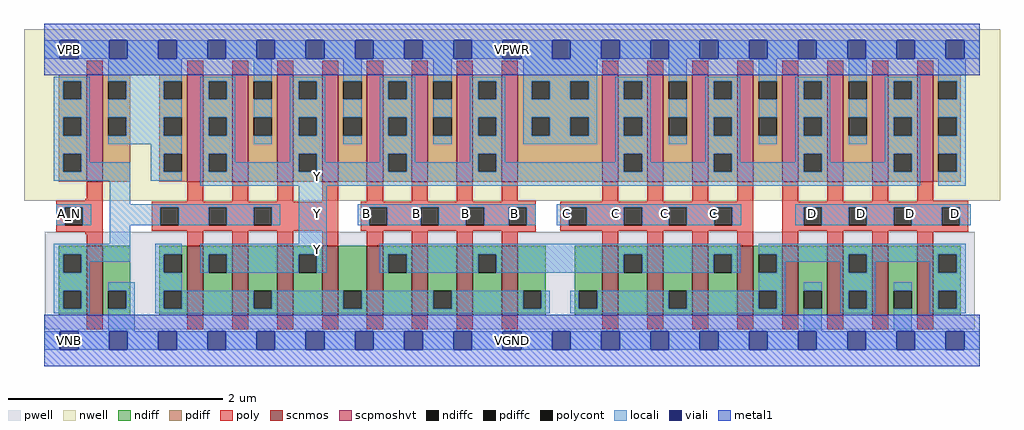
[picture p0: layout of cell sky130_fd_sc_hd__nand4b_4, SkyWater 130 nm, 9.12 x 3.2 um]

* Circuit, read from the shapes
.subckt sky130_fd_sc_hd__nand4b_4 A_N B C D VGND VNB VPB VPWR Y
XM1 VGND A_N n1 VNB sky130_fd_pr__nfet_01v8 w=0.65 l=0.15
XM2 Y n1 n2 VNB sky130_fd_pr__nfet_01v8 w=0.65 l=0.15 m=4
XM3 n3 B n2 VNB sky130_fd_pr__nfet_01v8 w=0.65 l=0.15 m=4
XM4 n3 C n4 VNB sky130_fd_pr__nfet_01v8 w=0.65 l=0.15 m=4
XM5 VGND D n4 VNB sky130_fd_pr__nfet_01v8 w=0.65 l=0.15 m=4
XM6 VPWR A_N n1 VPB sky130_fd_pr__pfet_01v8_hvt w=1 l=0.15
XM7 Y n1 VPWR VPB sky130_fd_pr__pfet_01v8_hvt w=1 l=0.15 m=4
XM8 Y B VPWR VPB sky130_fd_pr__pfet_01v8_hvt w=1 l=0.15 m=4
XM9 Y C VPWR VPB sky130_fd_pr__pfet_01v8_hvt w=1 l=0.15 m=4
XM10 Y D VPWR VPB sky130_fd_pr__pfet_01v8_hvt w=1 l=0.15 m=4
.ends

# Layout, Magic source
magic
tech sky130B
magscale 1 2
<< nwell >>
rect -38 261 1786 582
<< pwell >>
rect 1 21 1739 203
rect 30 -17 64 21
<< scnmos >>
rect 79 47 109 177
rect 267 47 297 177
rect 351 47 381 177
rect 435 47 465 177
rect 519 47 549 177
rect 603 47 633 177
rect 687 47 717 177
rect 771 47 801 177
rect 855 47 885 177
rect 1043 47 1073 177
rect 1127 47 1157 177
rect 1211 47 1241 177
rect 1295 47 1325 177
rect 1379 47 1409 177
rect 1463 47 1493 177
rect 1547 47 1577 177
rect 1631 47 1661 177
<< scpmoshvt >>
rect 79 297 109 497
rect 267 297 297 497
rect 351 297 381 497
rect 435 297 465 497
rect 519 297 549 497
rect 603 297 633 497
rect 687 297 717 497
rect 771 297 801 497
rect 855 297 885 497
rect 1043 297 1073 497
rect 1127 297 1157 497
rect 1211 297 1241 497
rect 1295 297 1325 497
rect 1379 297 1409 497
rect 1463 297 1493 497
rect 1547 297 1577 497
rect 1631 297 1661 497
<< ndiff >>
rect 27 161 79 177
rect 27 127 35 161
rect 69 127 79 161
rect 27 93 79 127
rect 27 59 35 93
rect 69 59 79 93
rect 27 47 79 59
rect 109 93 161 177
rect 109 59 119 93
rect 153 59 161 93
rect 109 47 161 59
rect 215 161 267 177
rect 215 127 223 161
rect 257 127 267 161
rect 215 93 267 127
rect 215 59 223 93
rect 257 59 267 93
rect 215 47 267 59
rect 297 161 351 177
rect 297 127 307 161
rect 341 127 351 161
rect 297 47 351 127
rect 381 93 435 177
rect 381 59 391 93
rect 425 59 435 93
rect 381 47 435 59
rect 465 161 519 177
rect 465 127 475 161
rect 509 127 519 161
rect 465 47 519 127
rect 549 93 603 177
rect 549 59 559 93
rect 593 59 603 93
rect 549 47 603 59
rect 633 161 687 177
rect 633 127 643 161
rect 677 127 687 161
rect 633 47 687 127
rect 717 93 771 177
rect 717 59 727 93
rect 761 59 771 93
rect 717 47 771 59
rect 801 161 855 177
rect 801 127 811 161
rect 845 127 855 161
rect 801 47 855 127
rect 885 93 937 177
rect 885 59 895 93
rect 929 59 937 93
rect 885 47 937 59
rect 991 93 1043 177
rect 991 59 999 93
rect 1033 59 1043 93
rect 991 47 1043 59
rect 1073 161 1127 177
rect 1073 127 1083 161
rect 1117 127 1127 161
rect 1073 47 1127 127
rect 1157 93 1211 177
rect 1157 59 1167 93
rect 1201 59 1211 93
rect 1157 47 1211 59
rect 1241 161 1295 177
rect 1241 127 1251 161
rect 1285 127 1295 161
rect 1241 47 1295 127
rect 1325 161 1379 177
rect 1325 127 1335 161
rect 1369 127 1379 161
rect 1325 93 1379 127
rect 1325 59 1335 93
rect 1369 59 1379 93
rect 1325 47 1379 59
rect 1409 93 1463 177
rect 1409 59 1419 93
rect 1453 59 1463 93
rect 1409 47 1463 59
rect 1493 161 1547 177
rect 1493 127 1503 161
rect 1537 127 1547 161
rect 1493 93 1547 127
rect 1493 59 1503 93
rect 1537 59 1547 93
rect 1493 47 1547 59
rect 1577 93 1631 177
rect 1577 59 1587 93
rect 1621 59 1631 93
rect 1577 47 1631 59
rect 1661 161 1713 177
rect 1661 127 1671 161
rect 1705 127 1713 161
rect 1661 93 1713 127
rect 1661 59 1671 93
rect 1705 59 1713 93
rect 1661 47 1713 59
<< pdiff >>
rect 27 485 79 497
rect 27 451 35 485
rect 69 451 79 485
rect 27 417 79 451
rect 27 383 35 417
rect 69 383 79 417
rect 27 349 79 383
rect 27 315 35 349
rect 69 315 79 349
rect 27 297 79 315
rect 109 485 161 497
rect 109 451 119 485
rect 153 451 161 485
rect 109 417 161 451
rect 109 383 119 417
rect 153 383 161 417
rect 109 297 161 383
rect 215 485 267 497
rect 215 451 223 485
rect 257 451 267 485
rect 215 417 267 451
rect 215 383 223 417
rect 257 383 267 417
rect 215 349 267 383
rect 215 315 223 349
rect 257 315 267 349
rect 215 297 267 315
rect 297 485 351 497
rect 297 451 307 485
rect 341 451 351 485
rect 297 417 351 451
rect 297 383 307 417
rect 341 383 351 417
rect 297 349 351 383
rect 297 315 307 349
rect 341 315 351 349
rect 297 297 351 315
rect 381 485 435 497
rect 381 451 391 485
rect 425 451 435 485
rect 381 417 435 451
rect 381 383 391 417
rect 425 383 435 417
rect 381 297 435 383
rect 465 485 519 497
rect 465 451 475 485
rect 509 451 519 485
rect 465 417 519 451
rect 465 383 475 417
rect 509 383 519 417
rect 465 349 519 383
rect 465 315 475 349
rect 509 315 519 349
rect 465 297 519 315
rect 549 485 603 497
rect 549 451 559 485
rect 593 451 603 485
rect 549 417 603 451
rect 549 383 559 417
rect 593 383 603 417
rect 549 297 603 383
rect 633 485 687 497
rect 633 451 643 485
rect 677 451 687 485
rect 633 417 687 451
rect 633 383 643 417
rect 677 383 687 417
rect 633 349 687 383
rect 633 315 643 349
rect 677 315 687 349
rect 633 297 687 315
rect 717 485 771 497
rect 717 451 727 485
rect 761 451 771 485
rect 717 417 771 451
rect 717 383 727 417
rect 761 383 771 417
rect 717 297 771 383
rect 801 485 855 497
rect 801 451 811 485
rect 845 451 855 485
rect 801 417 855 451
rect 801 383 811 417
rect 845 383 855 417
rect 801 349 855 383
rect 801 315 811 349
rect 845 315 855 349
rect 801 297 855 315
rect 885 485 1043 497
rect 885 451 911 485
rect 945 451 983 485
rect 1017 451 1043 485
rect 885 417 1043 451
rect 885 383 911 417
rect 945 383 983 417
rect 1017 383 1043 417
rect 885 297 1043 383
rect 1073 485 1127 497
rect 1073 451 1083 485
rect 1117 451 1127 485
rect 1073 417 1127 451
rect 1073 383 1083 417
rect 1117 383 1127 417
rect 1073 349 1127 383
rect 1073 315 1083 349
rect 1117 315 1127 349
rect 1073 297 1127 315
rect 1157 485 1211 497
rect 1157 451 1167 485
rect 1201 451 1211 485
rect 1157 417 1211 451
rect 1157 383 1167 417
rect 1201 383 1211 417
rect 1157 297 1211 383
rect 1241 485 1295 497
rect 1241 451 1251 485
rect 1285 451 1295 485
rect 1241 417 1295 451
rect 1241 383 1251 417
rect 1285 383 1295 417
rect 1241 349 1295 383
rect 1241 315 1251 349
rect 1285 315 1295 349
rect 1241 297 1295 315
rect 1325 485 1379 497
rect 1325 451 1335 485
rect 1369 451 1379 485
rect 1325 417 1379 451
rect 1325 383 1335 417
rect 1369 383 1379 417
rect 1325 297 1379 383
rect 1409 485 1463 497
rect 1409 451 1419 485
rect 1453 451 1463 485
rect 1409 417 1463 451
rect 1409 383 1419 417
rect 1453 383 1463 417
rect 1409 349 1463 383
rect 1409 315 1419 349
rect 1453 315 1463 349
rect 1409 297 1463 315
rect 1493 485 1547 497
rect 1493 451 1503 485
rect 1537 451 1547 485
rect 1493 417 1547 451
rect 1493 383 1503 417
rect 1537 383 1547 417
rect 1493 297 1547 383
rect 1577 485 1631 497
rect 1577 451 1587 485
rect 1621 451 1631 485
rect 1577 417 1631 451
rect 1577 383 1587 417
rect 1621 383 1631 417
rect 1577 349 1631 383
rect 1577 315 1587 349
rect 1621 315 1631 349
rect 1577 297 1631 315
rect 1661 485 1713 497
rect 1661 451 1671 485
rect 1705 451 1713 485
rect 1661 417 1713 451
rect 1661 383 1671 417
rect 1705 383 1713 417
rect 1661 349 1713 383
rect 1661 315 1671 349
rect 1705 315 1713 349
rect 1661 297 1713 315
<< ndiffc >>
rect 35 127 69 161
rect 35 59 69 93
rect 119 59 153 93
rect 223 127 257 161
rect 223 59 257 93
rect 307 127 341 161
rect 391 59 425 93
rect 475 127 509 161
rect 559 59 593 93
rect 643 127 677 161
rect 727 59 761 93
rect 811 127 845 161
rect 895 59 929 93
rect 999 59 1033 93
rect 1083 127 1117 161
rect 1167 59 1201 93
rect 1251 127 1285 161
rect 1335 127 1369 161
rect 1335 59 1369 93
rect 1419 59 1453 93
rect 1503 127 1537 161
rect 1503 59 1537 93
rect 1587 59 1621 93
rect 1671 127 1705 161
rect 1671 59 1705 93
<< pdiffc >>
rect 35 451 69 485
rect 35 383 69 417
rect 35 315 69 349
rect 119 451 153 485
rect 119 383 153 417
rect 223 451 257 485
rect 223 383 257 417
rect 223 315 257 349
rect 307 451 341 485
rect 307 383 341 417
rect 307 315 341 349
rect 391 451 425 485
rect 391 383 425 417
rect 475 451 509 485
rect 475 383 509 417
rect 475 315 509 349
rect 559 451 593 485
rect 559 383 593 417
rect 643 451 677 485
rect 643 383 677 417
rect 643 315 677 349
rect 727 451 761 485
rect 727 383 761 417
rect 811 451 845 485
rect 811 383 845 417
rect 811 315 845 349
rect 911 451 945 485
rect 983 451 1017 485
rect 911 383 945 417
rect 983 383 1017 417
rect 1083 451 1117 485
rect 1083 383 1117 417
rect 1083 315 1117 349
rect 1167 451 1201 485
rect 1167 383 1201 417
rect 1251 451 1285 485
rect 1251 383 1285 417
rect 1251 315 1285 349
rect 1335 451 1369 485
rect 1335 383 1369 417
rect 1419 451 1453 485
rect 1419 383 1453 417
rect 1419 315 1453 349
rect 1503 451 1537 485
rect 1503 383 1537 417
rect 1587 451 1621 485
rect 1587 383 1621 417
rect 1587 315 1621 349
rect 1671 451 1705 485
rect 1671 383 1705 417
rect 1671 315 1705 349
<< poly >>
rect 79 497 109 523
rect 267 497 297 523
rect 351 497 381 523
rect 435 497 465 523
rect 519 497 549 523
rect 603 497 633 523
rect 687 497 717 523
rect 771 497 801 523
rect 855 497 885 523
rect 1043 497 1073 523
rect 1127 497 1157 523
rect 1211 497 1241 523
rect 1295 497 1325 523
rect 1379 497 1409 523
rect 1463 497 1493 523
rect 1547 497 1577 523
rect 1631 497 1661 523
rect 79 265 109 297
rect 76 261 109 265
rect 22 249 109 261
rect 267 259 297 297
rect 351 259 381 297
rect 435 259 465 297
rect 519 259 549 297
rect 603 259 633 297
rect 687 259 717 297
rect 771 259 801 297
rect 855 261 885 297
rect 855 259 918 261
rect 1043 259 1073 297
rect 1127 259 1157 297
rect 1211 259 1241 297
rect 1295 259 1325 297
rect 22 215 38 249
rect 72 215 109 249
rect 22 203 109 215
rect 201 249 549 259
rect 201 215 217 249
rect 251 215 307 249
rect 341 215 391 249
rect 425 215 549 249
rect 201 205 549 215
rect 591 249 918 259
rect 591 215 607 249
rect 641 215 703 249
rect 737 215 788 249
rect 822 215 868 249
rect 902 215 918 249
rect 591 205 918 215
rect 964 249 1325 259
rect 964 215 980 249
rect 1014 215 1083 249
rect 1117 215 1167 249
rect 1201 215 1252 249
rect 1286 215 1325 249
rect 964 205 1325 215
rect 76 199 109 203
rect 79 177 109 199
rect 267 177 297 205
rect 351 177 381 205
rect 435 177 465 205
rect 519 177 549 205
rect 603 177 633 205
rect 687 177 717 205
rect 771 177 801 205
rect 855 203 918 205
rect 855 177 885 203
rect 1043 177 1073 205
rect 1127 177 1157 205
rect 1211 177 1241 205
rect 1295 177 1325 205
rect 1379 259 1409 297
rect 1463 259 1493 297
rect 1547 259 1577 297
rect 1631 261 1661 297
rect 1631 259 1727 261
rect 1379 249 1727 259
rect 1379 215 1419 249
rect 1453 215 1503 249
rect 1537 215 1587 249
rect 1621 215 1677 249
rect 1711 215 1727 249
rect 1379 205 1727 215
rect 1379 177 1409 205
rect 1463 177 1493 205
rect 1547 177 1577 205
rect 1631 203 1727 205
rect 1631 177 1661 203
rect 79 21 109 47
rect 267 21 297 47
rect 351 21 381 47
rect 435 21 465 47
rect 519 21 549 47
rect 603 21 633 47
rect 687 21 717 47
rect 771 21 801 47
rect 855 21 885 47
rect 1043 21 1073 47
rect 1127 21 1157 47
rect 1211 21 1241 47
rect 1295 21 1325 47
rect 1379 21 1409 47
rect 1463 21 1493 47
rect 1547 21 1577 47
rect 1631 21 1661 47
<< polycont >>
rect 38 215 72 249
rect 217 215 251 249
rect 307 215 341 249
rect 391 215 425 249
rect 607 215 641 249
rect 703 215 737 249
rect 788 215 822 249
rect 868 215 902 249
rect 980 215 1014 249
rect 1083 215 1117 249
rect 1167 215 1201 249
rect 1252 215 1286 249
rect 1419 215 1453 249
rect 1503 215 1537 249
rect 1587 215 1621 249
rect 1677 215 1711 249
<< locali >>
rect 0 527 29 561
rect 63 527 121 561
rect 155 527 213 561
rect 247 527 305 561
rect 339 527 397 561
rect 431 527 489 561
rect 523 527 581 561
rect 615 527 673 561
rect 707 527 765 561
rect 799 527 857 561
rect 891 527 949 561
rect 983 527 1041 561
rect 1075 527 1133 561
rect 1167 527 1225 561
rect 1259 527 1317 561
rect 1351 527 1409 561
rect 1443 527 1501 561
rect 1535 527 1593 561
rect 1627 527 1685 561
rect 1719 527 1748 561
rect 18 485 85 493
rect 18 451 35 485
rect 69 451 85 485
rect 18 417 85 451
rect 18 383 35 417
rect 69 383 85 417
rect 18 349 85 383
rect 119 485 257 527
rect 153 451 223 485
rect 119 417 257 451
rect 153 383 223 417
rect 119 367 257 383
rect 18 315 35 349
rect 69 333 85 349
rect 199 349 257 367
rect 69 315 161 333
rect 18 299 161 315
rect 199 315 223 349
rect 199 299 257 315
rect 291 485 357 493
rect 291 451 307 485
rect 341 451 357 485
rect 291 417 357 451
rect 291 383 307 417
rect 341 383 357 417
rect 291 349 357 383
rect 391 485 425 527
rect 391 417 425 451
rect 391 367 425 383
rect 459 485 525 493
rect 459 451 475 485
rect 509 451 525 485
rect 459 417 525 451
rect 459 383 475 417
rect 509 383 525 417
rect 291 315 307 349
rect 341 333 357 349
rect 459 349 525 383
rect 559 485 593 527
rect 559 417 593 451
rect 559 367 593 383
rect 627 485 693 493
rect 627 451 643 485
rect 677 451 693 485
rect 627 417 693 451
rect 627 383 643 417
rect 677 383 693 417
rect 459 333 475 349
rect 341 315 475 333
rect 509 333 525 349
rect 627 349 693 383
rect 727 485 761 527
rect 727 417 761 451
rect 727 367 761 383
rect 795 485 861 493
rect 795 451 811 485
rect 845 451 861 485
rect 795 417 861 451
rect 795 383 811 417
rect 845 383 861 417
rect 627 333 643 349
rect 509 315 643 333
rect 677 333 693 349
rect 795 349 861 383
rect 895 485 1033 527
rect 895 451 911 485
rect 945 451 983 485
rect 1017 451 1033 485
rect 895 417 1033 451
rect 895 383 911 417
rect 945 383 983 417
rect 1017 383 1033 417
rect 895 367 1033 383
rect 1067 485 1133 493
rect 1067 451 1083 485
rect 1117 451 1133 485
rect 1067 417 1133 451
rect 1067 383 1083 417
rect 1117 383 1133 417
rect 795 333 811 349
rect 677 315 811 333
rect 845 333 861 349
rect 1067 349 1133 383
rect 1167 485 1201 527
rect 1167 417 1201 451
rect 1167 367 1201 383
rect 1235 485 1301 493
rect 1235 451 1251 485
rect 1285 451 1301 485
rect 1235 417 1301 451
rect 1235 383 1251 417
rect 1285 383 1301 417
rect 1067 333 1083 349
rect 845 315 1083 333
rect 1117 333 1133 349
rect 1235 349 1301 383
rect 1335 485 1369 527
rect 1335 417 1369 451
rect 1335 367 1369 383
rect 1403 485 1469 493
rect 1403 451 1419 485
rect 1453 451 1469 485
rect 1403 417 1469 451
rect 1403 383 1419 417
rect 1453 383 1469 417
rect 1235 333 1251 349
rect 1117 315 1251 333
rect 1285 333 1301 349
rect 1403 349 1469 383
rect 1503 485 1537 527
rect 1503 417 1537 451
rect 1503 367 1537 383
rect 1571 485 1637 493
rect 1571 451 1587 485
rect 1621 451 1637 485
rect 1571 417 1637 451
rect 1571 383 1587 417
rect 1621 383 1637 417
rect 1403 333 1419 349
rect 1285 315 1419 333
rect 1453 333 1469 349
rect 1571 349 1637 383
rect 1571 333 1587 349
rect 1453 315 1587 333
rect 1621 315 1637 349
rect 122 255 161 299
rect 291 289 1637 315
rect 1671 485 1722 527
rect 1705 451 1722 485
rect 1671 417 1722 451
rect 1705 383 1722 417
rect 1671 349 1722 383
rect 1705 315 1722 349
rect 1671 289 1722 315
rect 22 249 88 255
rect 22 215 38 249
rect 72 215 88 249
rect 122 249 441 255
rect 122 215 217 249
rect 251 215 307 249
rect 341 215 391 249
rect 425 215 441 249
rect 122 181 161 215
rect 475 181 528 289
rect 586 249 918 255
rect 586 215 607 249
rect 641 215 703 249
rect 737 215 788 249
rect 822 215 868 249
rect 902 215 918 249
rect 958 249 1302 255
rect 958 215 980 249
rect 1014 215 1083 249
rect 1117 215 1167 249
rect 1201 215 1252 249
rect 1286 215 1302 249
rect 1403 249 1731 255
rect 1403 215 1419 249
rect 1453 215 1503 249
rect 1537 215 1587 249
rect 1621 215 1677 249
rect 1711 215 1731 249
rect 18 161 161 181
rect 18 127 35 161
rect 69 147 161 161
rect 207 161 257 181
rect 69 127 85 147
rect 18 93 85 127
rect 207 127 223 161
rect 291 161 528 181
rect 291 127 307 161
rect 341 127 475 161
rect 509 127 528 161
rect 627 161 1301 181
rect 627 127 643 161
rect 677 127 811 161
rect 845 127 1083 161
rect 1117 127 1251 161
rect 1285 127 1301 161
rect 1335 161 1722 181
rect 1369 147 1503 161
rect 1369 127 1385 147
rect 18 59 35 93
rect 69 59 85 93
rect 18 51 85 59
rect 119 93 169 109
rect 153 59 169 93
rect 119 17 169 59
rect 207 93 257 127
rect 1335 93 1385 127
rect 1487 127 1503 147
rect 1537 147 1671 161
rect 1537 127 1553 147
rect 207 59 223 93
rect 257 59 391 93
rect 425 59 559 93
rect 593 59 727 93
rect 761 59 895 93
rect 929 59 945 93
rect 207 51 945 59
rect 983 59 999 93
rect 1033 59 1167 93
rect 1201 59 1335 93
rect 1369 59 1385 93
rect 983 51 1385 59
rect 1419 93 1453 109
rect 1419 17 1453 59
rect 1487 93 1553 127
rect 1655 127 1671 147
rect 1705 127 1722 161
rect 1487 59 1503 93
rect 1537 59 1553 93
rect 1487 51 1553 59
rect 1587 93 1621 109
rect 1587 17 1621 59
rect 1655 93 1722 127
rect 1655 59 1671 93
rect 1705 59 1722 93
rect 1655 51 1722 59
rect 0 -17 29 17
rect 63 -17 121 17
rect 155 -17 213 17
rect 247 -17 305 17
rect 339 -17 397 17
rect 431 -17 489 17
rect 523 -17 581 17
rect 615 -17 673 17
rect 707 -17 765 17
rect 799 -17 857 17
rect 891 -17 949 17
rect 983 -17 1041 17
rect 1075 -17 1133 17
rect 1167 -17 1225 17
rect 1259 -17 1317 17
rect 1351 -17 1409 17
rect 1443 -17 1501 17
rect 1535 -17 1593 17
rect 1627 -17 1685 17
rect 1719 -17 1748 17
<< viali >>
rect 29 527 63 561
rect 121 527 155 561
rect 213 527 247 561
rect 305 527 339 561
rect 397 527 431 561
rect 489 527 523 561
rect 581 527 615 561
rect 673 527 707 561
rect 765 527 799 561
rect 857 527 891 561
rect 949 527 983 561
rect 1041 527 1075 561
rect 1133 527 1167 561
rect 1225 527 1259 561
rect 1317 527 1351 561
rect 1409 527 1443 561
rect 1501 527 1535 561
rect 1593 527 1627 561
rect 1685 527 1719 561
rect 29 -17 63 17
rect 121 -17 155 17
rect 213 -17 247 17
rect 305 -17 339 17
rect 397 -17 431 17
rect 489 -17 523 17
rect 581 -17 615 17
rect 673 -17 707 17
rect 765 -17 799 17
rect 857 -17 891 17
rect 949 -17 983 17
rect 1041 -17 1075 17
rect 1133 -17 1167 17
rect 1225 -17 1259 17
rect 1317 -17 1351 17
rect 1409 -17 1443 17
rect 1501 -17 1535 17
rect 1593 -17 1627 17
rect 1685 -17 1719 17
<< metal1 >>
rect 0 561 1748 592
rect 0 527 29 561
rect 63 527 121 561
rect 155 527 213 561
rect 247 527 305 561
rect 339 527 397 561
rect 431 527 489 561
rect 523 527 581 561
rect 615 527 673 561
rect 707 527 765 561
rect 799 527 857 561
rect 891 527 949 561
rect 983 527 1041 561
rect 1075 527 1133 561
rect 1167 527 1225 561
rect 1259 527 1317 561
rect 1351 527 1409 561
rect 1443 527 1501 561
rect 1535 527 1593 561
rect 1627 527 1685 561
rect 1719 527 1748 561
rect 0 496 1748 527
rect 0 17 1748 48
rect 0 -17 29 17
rect 63 -17 121 17
rect 155 -17 213 17
rect 247 -17 305 17
rect 339 -17 397 17
rect 431 -17 489 17
rect 523 -17 581 17
rect 615 -17 673 17
rect 707 -17 765 17
rect 799 -17 857 17
rect 891 -17 949 17
rect 983 -17 1041 17
rect 1075 -17 1133 17
rect 1167 -17 1225 17
rect 1259 -17 1317 17
rect 1351 -17 1409 17
rect 1443 -17 1501 17
rect 1535 -17 1593 17
rect 1627 -17 1685 17
rect 1719 -17 1748 17
rect 0 -48 1748 -17
<< labels >>
flabel locali s 1685 221 1719 255 0 FreeSans 250 0 0 0 D
port 4 nsew signal input
flabel locali s 1602 221 1636 255 0 FreeSans 250 0 0 0 D
port 4 nsew signal input
flabel locali s 1510 221 1544 255 0 FreeSans 250 0 0 0 D
port 4 nsew signal input
flabel locali s 1142 221 1176 255 0 FreeSans 250 0 0 0 C
port 3 nsew signal input
flabel locali s 1050 221 1084 255 0 FreeSans 250 0 0 0 C
port 3 nsew signal input
flabel locali s 958 221 992 255 0 FreeSans 250 0 0 0 C
port 3 nsew signal input
flabel locali s 862 221 896 255 0 FreeSans 250 0 0 0 B
port 2 nsew signal input
flabel locali s 770 221 804 255 0 FreeSans 250 0 0 0 B
port 2 nsew signal input
flabel locali s 678 221 712 255 0 FreeSans 250 0 0 0 B
port 2 nsew signal input
flabel locali s 586 221 620 255 0 FreeSans 250 0 0 0 B
port 2 nsew signal input
flabel locali s 494 153 528 187 0 FreeSans 250 0 0 0 Y
port 9 nsew signal output
flabel locali s 494 221 528 255 0 FreeSans 250 0 0 0 Y
port 9 nsew signal output
flabel locali s 494 289 528 323 0 FreeSans 250 0 0 0 Y
port 9 nsew signal output
flabel locali s 30 221 64 255 0 FreeSans 250 0 0 0 A_N
port 1 nsew signal input
flabel locali s 1418 221 1452 255 0 FreeSans 250 0 0 0 D
port 4 nsew signal input
flabel locali s 1234 221 1268 255 0 FreeSans 250 0 0 0 C
port 3 nsew signal input
flabel pwell s 30 -17 64 17 0 FreeSans 200 0 0 0 VNB
port 6 nsew ground bidirectional
flabel nwell s 30 527 64 561 0 FreeSans 200 0 0 0 VPB
port 7 nsew power bidirectional
flabel metal1 s 30 -17 64 17 0 FreeSans 200 0 0 0 VGND
port 5 nsew ground bidirectional abutment
flabel metal1 s 30 527 64 561 0 FreeSans 200 0 0 0 VPWR
port 8 nsew power bidirectional abutment
rlabel comment s 0 0 0 0 4 nand4b_4
rlabel metal1 s 0 -48 1748 48 1 VGND
port 5 nsew ground bidirectional abutment
rlabel metal1 s 0 496 1748 592 1 VPWR
port 8 nsew power bidirectional abutment
<< properties >>
string FIXED_BBOX 0 0 1748 544
string GDS_END 1921274
string GDS_FILE $PDKPATH/libs.ref/sky130_fd_sc_hd/gds/sky130_fd_sc_hd.gds
string GDS_START 1906346
string LEFclass CORE
string LEFsite unithd
string LEFsymmetry X Y R90
string path 0.000 0.000 43.700 0.000 
<< end >>
